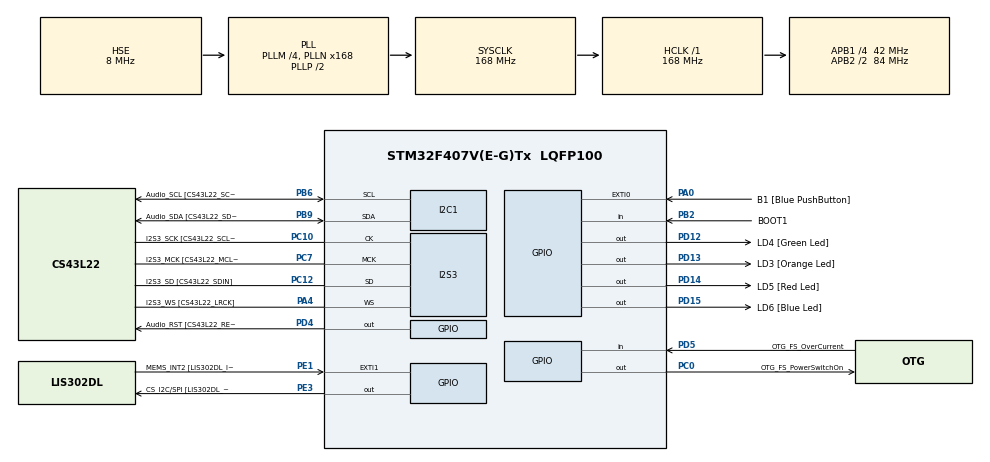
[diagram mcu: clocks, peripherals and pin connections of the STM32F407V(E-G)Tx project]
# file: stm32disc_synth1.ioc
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Mcu.Family=STM32F4
PA11.GPIO_Speed=GPIO_SPEED_FREQ_LOW
Dma.SPI3_TX.0.FIFOMode=DMA_FIFOMODE_ENABLE
Dma.SPI3_TX.0.Priority=DMA_PRIORITY_LOW
PC3.GPIO_Mode=GPIO_MODE_AF_PP
Dma.SPI3_TX.0.MemInc=DMA_MINC_ENABLE
PD12.GPIO_Label=LD4 [Green Led]
PH0-OSC_IN.Signal=RCC_OSC_IN
RCC.CortexFreq_Value=168000000
PC10.GPIO_PuPd=GPIO_NOPULL
PB10.GPIO_Speed=GPIO_SPEED_FREQ_LOW
PB6.GPIO_Mode=GPIO_MODE_AF_OD
PB10.GPIO_PuPd=GPIO_NOPULL
PA10.GPIO_PuPd=GPIO_NOPULL
PD15.GPIO_Speed=GPIO_SPEED_FREQ_LOW
PC10.Signal=I2S3_CK
PC12.Signal=I2S3_SD
PA14.GPIO_Label=SWCLK
PA7.GPIO_Mode=GPIO_MODE_AF_PP
PC0.GPIO_Label=OTG_FS_PowerSwitchOn
PA6.GPIO_Label=SPI1_MISO [LIS302DL_SDO]
PB6.GPIO_Label=Audio_SCL [CS43L22_SCL]
PC10.GPIO_Speed=GPIO_SPEED_FREQ_LOW
PA11.GPIO_PuPd=GPIO_NOPULL
Dma.SPI3_TX.0.PeriphDataAlignment=DMA_PDATAALIGN_HALFWORD
PC15-OSC32_OUT.GPIO_Label=PC15-OSC32_OUT
PC3.GPIO_Speed=GPIO_SPEED_FREQ_LOW
RCC.SYSCLKSource=RCC_SYSCLKSOURCE_PLLCLK
ProjectManager.StackSize=0x400
PA6.GPIO_Mode=GPIO_MODE_AF_PP
PD13.Signal=GPIO_Output
Dma.SPI3_TX.0.FIFOThreshold=DMA_FIFO_THRESHOLD_FULL
PD14.GPIO_Speed=GPIO_SPEED_FREQ_LOW
PA12.Signal=USB_OTG_FS_DP
PA4.Mode=Half_Duplex_Master
RCC.HCLKFreq_Value=168000000
PD4.Signal=GPIO_Output
RCC.APB2TimFreq_Value=168000000
PB6.Signal=I2C1_SCL
PC7.Signal=I2S3_MCK
PB6.Mode=I2C
PC3.Signal=I2S2_SD
PE1.Signal=GPXTI1
Dma.SPI3_TX.0.Direction=DMA_MEMORY_TO_PERIPH
RCC.AHBFreq_Value=168000000
PH0-OSC_IN.Mode=HSE-External-Oscillator
PH0-OSC_IN.GPIO_Label=PH0-OSC_IN
PA9.GPIO_Mode=GPIO_MODE_INPUT
RCC.HSE_VALUE=8000000
PA4.GPIO_PuPd=GPIO_NOPULL
PB2.Signal=GPIO_Input
PA4.GPIO_Speed=GPIO_SPEED_FREQ_LOW
I2S3.ErrorAudioFreq=1.72 %
PA6.GPIO_PuPd=GPIO_NOPULL
PA5.GPIO_PuPd=GPIO_NOPULL
PA10.GPIO_Label=OTG_FS_ID
PC7.GPIO_Mode=GPIO_MODE_AF_PP
PD5.GPIO_Mode=GPIO_MODE_INPUT
PD14.GPIO_PuPd=GPIO_NOPULL
PB2.GPIO_PuPd=GPIO_NOPULL
Dma.SPI3_TX.0.MemDataAlignment=DMA_MDATAALIGN_HALFWORD
PH1-OSC_OUT.Mode=HSE-External-Oscillator
PD13.GPIO_Label=LD3 [Orange Led]
Mcu.Package=LQFP100
PB9.Signal=I2C1_SDA
PA6.Signal=SPI1_MISO
PD12.Signal=GPIO_Output
PD5.GPIO_Label=OTG_FS_OverCurrent
PD15.GPIO_PuPd=GPIO_NOPULL
PA10.Signal=USB_OTG_FS_ID
PB9.GPIO_PuPd=GPIO_NOPULL
PA10.GPIO_Speed=GPIO_SPEED_FREQ_LOW
RCC.APB2CLKDivider=RCC_HCLK_DIV2
PB9.GPIO_Speed=GPIO_SPEED_FREQ_LOW
RCC.APB1TimFreq_Value=84000000
PC14-OSC32_IN.GPIO_Label=PC14-OSC32_IN
PC12.GPIO_PuPd=GPIO_NOPULL
PA6.GPIO_Speed=GPIO_SPEED_FREQ_LOW
PC0.GPIO_PuPd=GPIO_NOPULL
PA12.GPIO_PuPd=GPIO_NOPULL
Dma.Request0=SPI3_TX
PA4.GPIO_Label=I2S3_WS [CS43L22_LRCK]
PD15.Signal=GPIO_Output
PC0.PinState=GPIO_PIN_SET
PA12.GPIO_Speed=GPIO_SPEED_FREQ_LOW
PB3.GPIO_Label=SWO
RCC.PLLSourceVirtual=RCC_PLLSOURCE_HSE
I2S3.FullDuplexMode=I2S_FULLDUPLEXMODE_DISABLE
PD12.GPIO_Speed=GPIO_SPEED_FREQ_LOW
PD15.GPIO_Label=LD6 [Blue Led]
PB9.GPIO_Label=Audio_SDA [CS43L22_SDA]
PC10.GPIO_Label=I2S3_SCK [CS43L22_SCLK]
PA9.GPIO_Label=VBUS_FS
PB6.GPIO_PuPd=GPIO_NOPULL
PC10.Mode=Half_Duplex_Master
PA11.GPIO_Label=OTG_FS_DM
PE1.GPIO_PuPd=GPIO_NOPULL
PD5.Signal=GPIO_Input
PC0.Signal=GPIO_Output
PE1.GPIO_ModeDefaultEXTI=GPIO_MODE_EVT_RISING
RCC.APB1CLKDivider=RCC_HCLK_DIV4
PC14-OSC32_IN.Signal=RCC_OSC32_IN
PA9.GPIO_PuPd=GPIO_NOPULL
PA12.GPIO_Label=OTG_FS_DP
PA0-WKUP.GPIO_Label=B1 [Blue PushButton]
PA0-WKUP.Signal=GPXTI0
PA10.GPIO_Mode=GPIO_MODE_AF_PP
PA13.Signal=SYS_JTMS-SWDIO
Dma.SPI3_TX.0.PeriphBurst=DMA_PBURST_SINGLE
PC10.GPIO_Mode=GPIO_MODE_AF_PP
PD4.GPIO_PuPd=GPIO_NOPULL
PC0.GPIO_Speed=GPIO_SPEED_FREQ_LOW
PB10.GPIO_Mode=GPIO_MODE_AF_PP
ProjectManager.TargetToolchain=STM32CubeIDE
PB10.GPIO_Label=CLK_IN [MP45DT02_CLK]
NVIC.DMA1_Stream5_IRQn=true\:0\:0\:false\:false\:true\:false\:true
PB9.Mode=I2C
PA9.Signal=USB_OTG_FS_VBUS
I2S3.VirtualMode=I2S_MODE_MASTER
Dma.SPI3_TX.0.PeriphInc=DMA_PINC_DISABLE
PC7.GPIO_PuPd=GPIO_NOPULL
RCC.LSE_VALUE=32768
PC15-OSC32_OUT.Signal=RCC_OSC32_OUT
PA7.GPIO_PuPd=GPIO_NOPULL
PB10.Signal=I2S2_CK
PA5.Signal=SPI1_SCK
I2S3.AudioFreq=I2S_AUDIOFREQ_48K
PC12.Mode=Half_Duplex_Master
board=STM32F407G-DISC1
PD13.GPIO_Speed=GPIO_SPEED_FREQ_LOW
PC7.GPIO_Speed=GPIO_SPEED_FREQ_LOW
RCC.VCOOutputFreq_Value=336000000
PE1.GPIO_Label=MEMS_INT2 [LIS302DL_INT2]
PA7.GPIO_Speed=GPIO_SPEED_FREQ_LOW
PB9.GPIO_Mode=GPIO_MODE_AF_OD
PA12.GPIO_Mode=GPIO_MODE_AF_PP
PA4.GPIO_Mode=GPIO_MODE_AF_PP
RCC.APB2Freq_Value=84000000
PB2.GPIO_Mode=GPIO_MODE_INPUT
PD4.GPIO_Label=Audio_RST [CS43L22_RESET]
PD4.GPIO_Speed=GPIO_SPEED_FREQ_LOW
PE3.GPIO_PuPd=GPIO_NOPULL
PH1-OSC_OUT.Signal=RCC_OSC_OUT
PD13.GPIO_PuPd=GPIO_NOPULL
PD5.GPIO_PuPd=GPIO_NOPULL
PD14.GPIO_Label=LD5 [Red Led]
PH1-OSC_OUT.GPIO_Label=PH1-OSC_OUT
Dma.SPI3_TX.0.Instance=DMA1_Stream5
Mcu.Name=STM32F407V(E-G)Tx
PA13.GPIO_Label=SWDIO
PC7.GPIO_Label=I2S3_MCK [CS43L22_MCLK]
PD14.Signal=GPIO_Output
RCC.48MHZClocksFreq_Value=48000000
PB3.Signal=SYS_JTDO-SWO
PA4.Signal=I2S3_WS
RCC.SYSCLKFreq_VALUE=168000000
PC12.GPIO_Mode=GPIO_MODE_AF_PP
PA7.GPIO_Label=SPI1_MOSI [LIS302DL_SDA/SDI/SDO]
PA5.GPIO_Label=SPI1_SCK [LIS302DL_SCL/SPC]
Dma.SPI3_TX.0.Mode=DMA_CIRCULAR
PE3.GPIO_Speed=GPIO_SPEED_FREQ_LOW
PC12.GPIO_Label=I2S3_SD [CS43L22_SDIN]
PA11.Signal=USB_OTG_FS_DM
PA14.Signal=SYS_JTCK-SWCLK
PB2.GPIO_Label=BOOT1
ProjectManager.HeapSize=0x200
RCC.HSI_VALUE=16000000
PA5.GPIO_Speed=GPIO_SPEED_FREQ_LOW
RCC.PLLQ=7
NVIC.PriorityGroup=NVIC_PRIORITYGROUP_0
I2S3.RealAudioFreq=48.828 KHz
RCC.PLLM=4
RCC.PLLN=168
PE3.Signal=GPIO_Output
PE3.GPIO_Label=CS_I2C/SPI [LIS302DL_CS_I2C/SPI]
PC3.GPIO_Label=PDM_OUT [MP45DT02_DOUT]
Dma.SPI3_TX.0.MemBurst=DMA_MBURST_SINGLE
I2S3.Instance=SPI$Index
PC7.Mode=Master_Clock_Activated
PA11.GPIO_Mode=GPIO_MODE_AF_PP
PB6.GPIO_Speed=GPIO_SPEED_FREQ_LOW
RCC.APB1Freq_Value=42000000
PA5.GPIO_Mode=GPIO_MODE_AF_PP
PC12.GPIO_Speed=GPIO_SPEED_FREQ_LOW
RCC.PLLI2SN=50
PC3.GPIO_PuPd=GPIO_NOPULL
PD12.GPIO_PuPd=GPIO_NOPULL
PA7.Signal=SPI1_MOSI

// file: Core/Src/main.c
/* USER CODE BEGIN Header */
/**
 *
 * Copyright (c) 2021 Roger Allen.  Some portions generated by
 * STMicroelectronics, see below.
 *
  ******************************************************************************
  * @file           : main.c
  * @brief          : Main program body
  ******************************************************************************
  * @attention
  *
  * <h2><center>&copy; Copyright (c) 2021 STMicroelectronics.
  * All rights reserved.</center></h2>
  *
  * This software component is licensed by ST under BSD 3-Clause license,
  * the "License"; You may not use this file except in compliance with the
  * License. You may obtain a copy of the License at:
  *                        opensource.org/licenses/BSD-3-Clause
  *
  ******************************************************************************
  */
/* USER CODE END Header */
#include "main.h"

/* USER CODE BEGIN Includes */
#include "../../Drivers/BSP/STM32F4-Discovery/stm32f4_discovery_audio.h"
#include <math.h>
/* USER CODE END Includes */

/* USER CODE BEGIN PD */

// we have 4 leds
#define MAX_LED_IDX 4
// and a number of notes in the song
#define MAX_NOTE_IDX 30

// defines for wave table
#define WAVE_TABLE_LENGTH 256

// defines for audio buffer sizing
#define AUDIO_BUFFER_FRAMES   256
#define AUDIO_BUFFER_CHANNELS 2
#define AUDIO_BUFFER_SAMPLES  AUDIO_BUFFER_FRAMES * AUDIO_BUFFER_CHANNELS
#define AUDIO_BUFFER_BYTES    sizeof(int16_t)*AUDIO_BUFFER_SAMPLES

// looking at the scope, I see
// 88 produce a wave clamped at +/- 1.05V
// 87 produces a very slightly clamped sine wave +/- 1.05V and
// 86 produces a clean sine wave +/- 0.95V
#define HARDWARE_VOLUME 86
#define SAMPLE_RATE    48000
float   CHROMATIC_BASE = pow(2.0f, 1.0f / 12.0f);

/* USER CODE END PD */

I2C_HandleTypeDef hi2c1;

I2S_HandleTypeDef hi2s3;
DMA_HandleTypeDef hdma_spi3_tx;

/* USER CODE BEGIN PV */

// audio buffer that is sent over I2S to DAC
uint16_t audio_buffer[AUDIO_BUFFER_SAMPLES];
// wave table that is used to update the audio_buffer
float wave_table[WAVE_TABLE_LENGTH];
// each button push updates an index.  use that index to flash leds
// rotate clockwise:       LD3/orange, LD5/red, LD6/blue, LD4/green
uint16_t idx_to_led_pin[] = { LD3_Pin, LD5_Pin, LD6_Pin, LD4_Pin };
// also use index to play different notes.
// set up a small chromatic scale to use
typedef enum { C4 = 60, Cs4, D4, Ds4, E4, F4, Fs4, G4, Gs4, A4, As4, B4 } note_t;
// play a recognizable tune.
note_t idx_to_note[] = {
    E4, E4, F4, G4,  G4, F4, E4, D4,  C4, C4, D4, E4,  E4, D4, D4,
    E4, E4, F4, G4,  G4, F4, E4, D4,  C4, C4, D4, E4,  D4, C4, C4
};
// the wave table has a pointer to the current sample
float cur_wave_table_phase = 0.0;
// button pushes update the note
float cur_note_hz = 440.0;
// play only when button is down
float cur_volume = 0.0;

/* USER CODE END PV */

void SystemClock_Config(void);
static void MX_GPIO_Init(void);
static void MX_DMA_Init(void);
static void MX_I2C1_Init(void);
static void MX_I2S3_Init(void);
/* USER CODE BEGIN PFP */

uint8_t update_state(uint8_t cur_idx);
float note_to_freq(uint8_t note);
void init_wave_table(void);
uint16_t float2uint16(float f);
void update_audio_buffer(uint32_t start_frame, uint32_t num_frames);
void audio_init(void);

/* USER CODE END PFP */

int main(void)
{
  /* USER CODE BEGIN 1 */

  // keep track of the current note & led index
  uint8_t cur_idx = 255;

  /* USER CODE END 1 */

  /* MCU Configuration--------------------------------------------------------*/

  /* Reset of all peripherals, Initializes the Flash interface and the Systick. */
  HAL_Init();

  /* Configure the system clock */
  SystemClock_Config();

  /* Initialize all configured peripherals */
  MX_GPIO_Init();
  MX_DMA_Init();
  MX_I2C1_Init();
  MX_I2S3_Init();
  /* USER CODE BEGIN 2 */

  audio_init();

  /* USER CODE END 2 */

  /* Infinite loop */
  while (1)
  {

    /* USER CODE BEGIN 3 */

    cur_idx = update_state(cur_idx);
    HAL_Delay(50);

  }
  /* USER CODE END 3 */
}

void SystemClock_Config(void)
{
  RCC_OscInitTypeDef RCC_OscInitStruct = {0};
  RCC_ClkInitTypeDef RCC_ClkInitStruct = {0};
  RCC_PeriphCLKInitTypeDef PeriphClkInitStruct = {0};

  /** Configure the main internal regulator output voltage
  */
  __HAL_RCC_PWR_CLK_ENABLE();
  __HAL_PWR_VOLTAGESCALING_CONFIG(PWR_REGULATOR_VOLTAGE_SCALE1);
  /** Initializes the RCC Oscillators according to the specified parameters
  * in the RCC_OscInitTypeDef structure.
  */
  RCC_OscInitStruct.OscillatorType = RCC_OSCILLATORTYPE_HSE;
  RCC_OscInitStruct.HSEState = RCC_HSE_ON;
  RCC_OscInitStruct.PLL.PLLState = RCC_PLL_ON;
  RCC_OscInitStruct.PLL.PLLSource = RCC_PLLSOURCE_HSE;
  RCC_OscInitStruct.PLL.PLLM = 4;
  RCC_OscInitStruct.PLL.PLLN = 168;
  RCC_OscInitStruct.PLL.PLLP = RCC_PLLP_DIV2;
  RCC_OscInitStruct.PLL.PLLQ = 7;
  if (HAL_RCC_OscConfig(&RCC_OscInitStruct) != HAL_OK)
  {
    Error_Handler();
  }
  /** Initializes the CPU, AHB and APB buses clocks
  */
  RCC_ClkInitStruct.ClockType = RCC_CLOCKTYPE_HCLK|RCC_CLOCKTYPE_SYSCLK
                              |RCC_CLOCKTYPE_PCLK1|RCC_CLOCKTYPE_PCLK2;
  RCC_ClkInitStruct.SYSCLKSource = RCC_SYSCLKSOURCE_PLLCLK;
  RCC_ClkInitStruct.AHBCLKDivider = RCC_SYSCLK_DIV1;
  RCC_ClkInitStruct.APB1CLKDivider = RCC_HCLK_DIV4;
  RCC_ClkInitStruct.APB2CLKDivider = RCC_HCLK_DIV2;

  if (HAL_RCC_ClockConfig(&RCC_ClkInitStruct, FLASH_LATENCY_5) != HAL_OK)
  {
    Error_Handler();
  }
  PeriphClkInitStruct.PeriphClockSelection = RCC_PERIPHCLK_I2S;
  PeriphClkInitStruct.PLLI2S.PLLI2SN = 50;
  PeriphClkInitStruct.PLLI2S.PLLI2SR = 2;
  if (HAL_RCCEx_PeriphCLKConfig(&PeriphClkInitStruct) != HAL_OK)
  {
    Error_Handler();
  }
}

static void MX_I2C1_Init(void)
{

  hi2c1.Instance = I2C1;
  hi2c1.Init.ClockSpeed = 100000;
  hi2c1.Init.DutyCycle = I2C_DUTYCYCLE_2;
  hi2c1.Init.OwnAddress1 = 0;
  hi2c1.Init.AddressingMode = I2C_ADDRESSINGMODE_7BIT;
  hi2c1.Init.DualAddressMode = I2C_DUALADDRESS_DISABLE;
  hi2c1.Init.OwnAddress2 = 0;
  hi2c1.Init.GeneralCallMode = I2C_GENERALCALL_DISABLE;
  hi2c1.Init.NoStretchMode = I2C_NOSTRETCH_DISABLE;
  if (HAL_I2C_Init(&hi2c1) != HAL_OK)
  {
    Error_Handler();
  }

}

static void MX_I2S3_Init(void)
{

  hi2s3.Instance = SPI3;
  hi2s3.Init.Mode = I2S_MODE_MASTER_TX;
  hi2s3.Init.Standard = I2S_STANDARD_PHILIPS;
  hi2s3.Init.DataFormat = I2S_DATAFORMAT_16B;
  hi2s3.Init.MCLKOutput = I2S_MCLKOUTPUT_ENABLE;
  hi2s3.Init.AudioFreq = I2S_AUDIOFREQ_48K;
  hi2s3.Init.CPOL = I2S_CPOL_LOW;
  hi2s3.Init.ClockSource = I2S_CLOCK_PLL;
  hi2s3.Init.FullDuplexMode = I2S_FULLDUPLEXMODE_DISABLE;
  if (HAL_I2S_Init(&hi2s3) != HAL_OK)
  {
    Error_Handler();
  }

}

static void MX_DMA_Init(void)
{

  /* DMA controller clock enable */
  __HAL_RCC_DMA1_CLK_ENABLE();

  /* DMA interrupt init */
  /* DMA1_Stream5_IRQn interrupt configuration */
  HAL_NVIC_SetPriority(DMA1_Stream5_IRQn, 0, 0);
  HAL_NVIC_EnableIRQ(DMA1_Stream5_IRQn);

}

static void MX_GPIO_Init(void)
{
  GPIO_InitTypeDef GPIO_InitStruct = {0};

  /* GPIO Ports Clock Enable */
  __HAL_RCC_GPIOE_CLK_ENABLE();
  __HAL_RCC_GPIOC_CLK_ENABLE();
  __HAL_RCC_GPIOH_CLK_ENABLE();
  __HAL_RCC_GPIOA_CLK_ENABLE();
  __HAL_RCC_GPIOB_CLK_ENABLE();
  __HAL_RCC_GPIOD_CLK_ENABLE();

  /*Configure GPIO pin Output Level */
  HAL_GPIO_WritePin(CS_I2C_SPI_GPIO_Port, CS_I2C_SPI_Pin, GPIO_PIN_RESET);

  /*Configure GPIO pin Output Level */
  HAL_GPIO_WritePin(OTG_FS_PowerSwitchOn_GPIO_Port, OTG_FS_PowerSwitchOn_Pin, GPIO_PIN_SET);

  /*Configure GPIO pin Output Level */
  HAL_GPIO_WritePin(GPIOD, LD4_Pin|LD3_Pin|LD5_Pin|LD6_Pin
                          |Audio_RST_Pin, GPIO_PIN_RESET);

  /*Configure GPIO pin : CS_I2C_SPI_Pin */
  GPIO_InitStruct.Pin = CS_I2C_SPI_Pin;
  GPIO_InitStruct.Mode = GPIO_MODE_OUTPUT_PP;
  GPIO_InitStruct.Pull = GPIO_NOPULL;
  GPIO_InitStruct.Speed = GPIO_SPEED_FREQ_LOW;
  HAL_GPIO_Init(CS_I2C_SPI_GPIO_Port, &GPIO_InitStruct);

  /*Configure GPIO pin : OTG_FS_PowerSwitchOn_Pin */
  GPIO_InitStruct.Pin = OTG_FS_PowerSwitchOn_Pin;
  GPIO_InitStruct.Mode = GPIO_MODE_OUTPUT_PP;
  GPIO_InitStruct.Pull = GPIO_NOPULL;
  GPIO_InitStruct.Speed = GPIO_SPEED_FREQ_LOW;
  HAL_GPIO_Init(OTG_FS_PowerSwitchOn_GPIO_Port, &GPIO_InitStruct);

  /*Configure GPIO pin : PDM_OUT_Pin */
  GPIO_InitStruct.Pin = PDM_OUT_Pin;
  GPIO_InitStruct.Mode = GPIO_MODE_AF_PP;
  GPIO_InitStruct.Pull = GPIO_NOPULL;
  GPIO_InitStruct.Speed = GPIO_SPEED_FREQ_LOW;
  GPIO_InitStruct.Alternate = GPIO_AF5_SPI2;
  HAL_GPIO_Init(PDM_OUT_GPIO_Port, &GPIO_InitStruct);

  /*Configure GPIO pin : B1_Pin */
  GPIO_InitStruct.Pin = B1_Pin;
  GPIO_InitStruct.Mode = GPIO_MODE_IT_RISING;
  GPIO_InitStruct.Pull = GPIO_NOPULL;
  HAL_GPIO_Init(B1_GPIO_Port, &GPIO_InitStruct);

  /*Configure GPIO pins : SPI1_SCK_Pin SPI1_MISO_Pin SPI1_MOSI_Pin */
  GPIO_InitStruct.Pin = SPI1_SCK_Pin|SPI1_MISO_Pin|SPI1_MOSI_Pin;
  GPIO_InitStruct.Mode = GPIO_MODE_AF_PP;
  GPIO_InitStruct.Pull = GPIO_NOPULL;
  GPIO_InitStruct.Speed = GPIO_SPEED_FREQ_LOW;
  GPIO_InitStruct.Alternate = GPIO_AF5_SPI1;
  HAL_GPIO_Init(GPIOA, &GPIO_InitStruct);

  /*Configure GPIO pin : BOOT1_Pin */
  GPIO_InitStruct.Pin = BOOT1_Pin;
  GPIO_InitStruct.Mode = GPIO_MODE_INPUT;
  GPIO_InitStruct.Pull = GPIO_NOPULL;
  HAL_GPIO_Init(BOOT1_GPIO_Port, &GPIO_InitStruct);

  /*Configure GPIO pin : CLK_IN_Pin */
  GPIO_InitStruct.Pin = CLK_IN_Pin;
  GPIO_InitStruct.Mode = GPIO_MODE_AF_PP;
  GPIO_InitStruct.Pull = GPIO_NOPULL;
  GPIO_InitStruct.Speed = GPIO_SPEED_FREQ_LOW;
  GPIO_InitStruct.Alternate = GPIO_AF5_SPI2;
  HAL_GPIO_Init(CLK_IN_GPIO_Port, &GPIO_InitStruct);

  /*Configure GPIO pins : LD4_Pin LD3_Pin LD5_Pin LD6_Pin
                           Audio_RST_Pin */
  GPIO_InitStruct.Pin = LD4_Pin|LD3_Pin|LD5_Pin|LD6_Pin
                          |Audio_RST_Pin;
  GPIO_InitStruct.Mode = GPIO_MODE_OUTPUT_PP;
  GPIO_InitStruct.Pull = GPIO_NOPULL;
  GPIO_InitStruct.Speed = GPIO_SPEED_FREQ_LOW;
  HAL_GPIO_Init(GPIOD, &GPIO_InitStruct);

  /*Configure GPIO pin : VBUS_FS_Pin */
  GPIO_InitStruct.Pin = VBUS_FS_Pin;
  GPIO_InitStruct.Mode = GPIO_MODE_INPUT;
  GPIO_InitStruct.Pull = GPIO_NOPULL;
  HAL_GPIO_Init(VBUS_FS_GPIO_Port, &GPIO_InitStruct);

  /*Configure GPIO pins : OTG_FS_ID_Pin OTG_FS_DM_Pin OTG_FS_DP_Pin */
  GPIO_InitStruct.Pin = OTG_FS_ID_Pin|OTG_FS_DM_Pin|OTG_FS_DP_Pin;
  GPIO_InitStruct.Mode = GPIO_MODE_AF_PP;
  GPIO_InitStruct.Pull = GPIO_NOPULL;
  GPIO_InitStruct.Speed = GPIO_SPEED_FREQ_LOW;
  GPIO_InitStruct.Alternate = GPIO_AF10_OTG_FS;
  HAL_GPIO_Init(GPIOA, &GPIO_InitStruct);

  /*Configure GPIO pin : OTG_FS_OverCurrent_Pin */
  GPIO_InitStruct.Pin = OTG_FS_OverCurrent_Pin;
  GPIO_InitStruct.Mode = GPIO_MODE_INPUT;
  GPIO_InitStruct.Pull = GPIO_NOPULL;
  HAL_GPIO_Init(OTG_FS_OverCurrent_GPIO_Port, &GPIO_InitStruct);

  /*Configure GPIO pin : MEMS_INT2_Pin */
  GPIO_InitStruct.Pin = MEMS_INT2_Pin;
  GPIO_InitStruct.Mode = GPIO_MODE_EVT_RISING;
  GPIO_InitStruct.Pull = GPIO_NOPULL;
  HAL_GPIO_Init(MEMS_INT2_GPIO_Port, &GPIO_InitStruct);

}

/* USER CODE BEGIN 4 */

// ======================================================================
// read the user button & on edges, update the LEDs & cur_idx
// also update cur_note_hz, cur_volume
// return the updated cur_idx
uint8_t update_state(uint8_t cur_idx)
{

  static GPIO_PinState last_user_button_state = GPIO_PIN_RESET;

  GPIO_PinState user_button_state = HAL_GPIO_ReadPin(B1_GPIO_Port, B1_Pin);
  if((last_user_button_state == GPIO_PIN_RESET) &&
     (user_button_state == GPIO_PIN_SET)) {
    cur_idx = cur_idx + 1; // wraps at 255 -> 0
    HAL_GPIO_WritePin(GPIOD, idx_to_led_pin[cur_idx%MAX_LED_IDX], GPIO_PIN_RESET);
    cur_note_hz = note_to_freq(idx_to_note[cur_idx%MAX_NOTE_IDX]);
    HAL_GPIO_WritePin(GPIOD, idx_to_led_pin[cur_idx%MAX_LED_IDX], user_button_state);
    cur_volume = 1.0;
  }
  else if ((last_user_button_state == GPIO_PIN_SET) &&
           (user_button_state == GPIO_PIN_RESET)) {
    HAL_GPIO_WritePin(GPIOD, idx_to_led_pin[cur_idx%MAX_LED_IDX], user_button_state);
    cur_volume = 0.0;
  }
  last_user_button_state = user_button_state;

  return cur_idx;

}

// ======================================================================
// convert midi note index to frequency in Hz.  A4 440Hz = midi note 69
float note_to_freq(uint8_t note)
{
  return 440*pow(CHROMATIC_BASE, (float)note - 69);
}

// ======================================================================
// create a wave_table with a single sine wave cycle.
// values are stored as float to make further math easy.
void init_wave_table(void)
{
  float phase_inc = (2.0f * (float)M_PI) / (float)WAVE_TABLE_LENGTH;
  float phase = 0;
  for (int i = 0; i < WAVE_TABLE_LENGTH; i++) {
    wave_table[i] = sin(phase);
    phase += phase_inc;
  }
}

// ======================================================================
// float to uint16 produces two's complement values with -1.0 => 0x8001,
// 0.0 => 0x0000 and 1.0 => 0x7fff.  It also has good rounding behavior
// near 0.0 per https://www.cs.cmu.edu/~rbd/papers/cmj-float-to-int.html
inline uint16_t float2uint16(float f)
{
  return (uint16_t)(((int16_t)(32767*f + 32768.5)) - 32768);
}

// ======================================================================
// using cur_phase, read from wave_table[] and update the
// audio_buffer from start to start+num_frames
void update_audio_buffer(uint32_t start_frame, uint32_t num_frames)
{

  float cur_wave_table_phase_inc = (cur_note_hz / SAMPLE_RATE) * WAVE_TABLE_LENGTH;

  for(int frame = start_frame; frame < start_frame+num_frames; frame++) {
    float sample_f = cur_volume * wave_table[(uint32_t)cur_wave_table_phase];
    uint16_t sample = float2uint16(sample_f);
    // each frame is 2 samples
    audio_buffer[2*frame] = sample;
    audio_buffer[2*frame+1] = sample;
    cur_wave_table_phase += cur_wave_table_phase_inc;
    if(cur_wave_table_phase > WAVE_TABLE_LENGTH) {
      cur_wave_table_phase -= WAVE_TABLE_LENGTH;
    }
  }
}

// ======================================================================
void audio_init(void)
{
  init_wave_table();
  update_audio_buffer(0, AUDIO_BUFFER_FRAMES);

  if(BSP_AUDIO_OUT_Init(OUTPUT_DEVICE_HEADPHONE, HARDWARE_VOLUME, SAMPLE_RATE) != AUDIO_OK) {
    Error_Handler();
  }

  // tell the chip to start DMA from audio_buffer
  BSP_AUDIO_OUT_Play(&(audio_buffer[0]), AUDIO_BUFFER_BYTES);
}

// ======================================================================
// after the first half of the audio_buffer has been
// transferred, fill that portion with new samples
// while the second half is being played.
void BSP_AUDIO_OUT_HalfTransfer_CallBack(void)
{
  update_audio_buffer(0, AUDIO_BUFFER_FRAMES/2);
}

// ======================================================================
// now the second half has been transferred.
// fill in the second half with new samples
void BSP_AUDIO_OUT_TransferComplete_CallBack(void)
{
  update_audio_buffer(AUDIO_BUFFER_FRAMES/2, AUDIO_BUFFER_FRAMES/2);
}

/* USER CODE END 4 */

void Error_Handler(void)
{
  __disable_irq();
  while (1)
  {
  }
}

/************************ (C) COPYRIGHT STMicroelectronics *****END OF FILE****/
